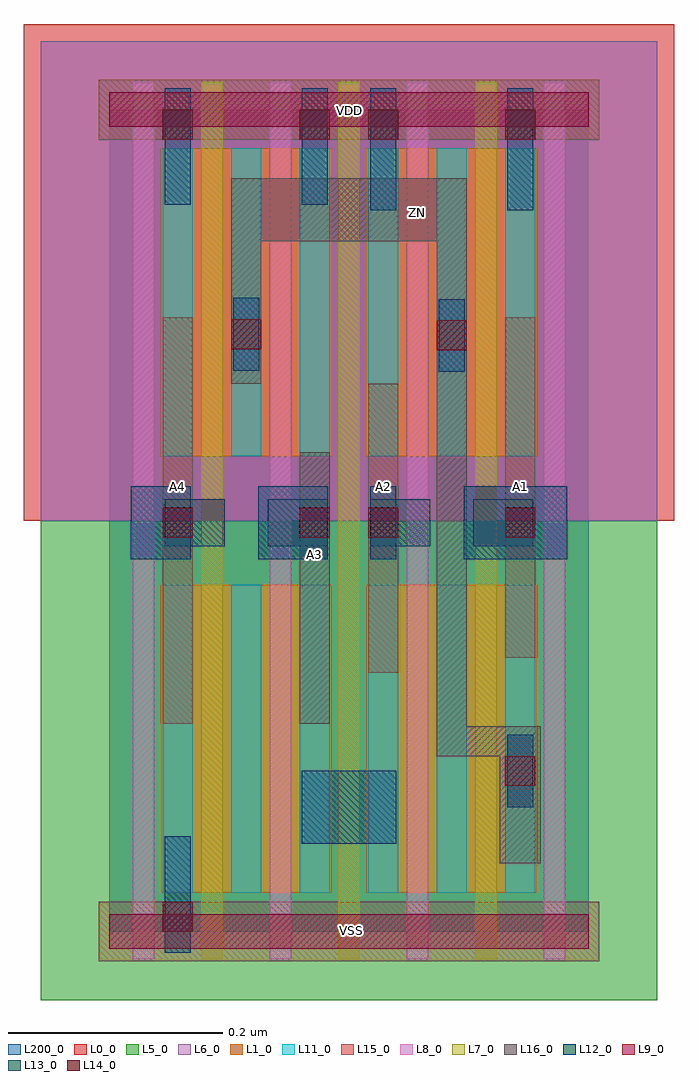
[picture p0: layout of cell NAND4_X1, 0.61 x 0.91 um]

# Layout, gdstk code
import gdstk
lib = gdstk.Library(unit=1e-6, precision=1e-09)
def R(c, l, rs):  # rectangles x0, y0, x1, y1
    for r in rs: c.add(gdstk.rectangle(r[:2], r[2:], *l))
def A(c, l, x, y, w, h, nx, ny, dx, dy):  # array of equal rectangles
    R(c, l, [(x+i*dx, y+j*dy, x+i*dx+w, y+j*dy+h) for i in range(nx) for j in range(ny)])
def P(c, l, *ps):  # polygons
    for p in ps: c.add(gdstk.Polygon(p, *l))
L0_0 = (0, 0)
L1_0 = (1, 0)
L5_0 = (5, 0)
L6_0 = (6, 0)
L7_0 = (7, 0)
L8_0 = (8, 0)
L9_0 = (9, 0)
L11_0 = (11, 0)
L12_0 = (12, 0)
L13_0 = (13, 0)
L14_0 = (14, 0)
L15_0 = (15, 0)
L16_0 = (16, 0)
L200_0 = (200, 0)

nand4_x1 = lib.new_cell('NAND4_X1')
R(nand4_x1, L0_0, [(-0.08,0.384,0.528,0.848)])
R(nand4_x1, L1_0, [(0.048,0.036,0.208,0.324), (0.24,0.036,0.4,0.324), (0.048,0.444,0.208,0.732), (0.24,0.444,0.4,0.732)])
R(nand4_x1, L5_0, [(-0.064,-0.064,0.512,0.384)])
R(nand4_x1, L6_0, [(-0.064,0.384,0.512,0.832)])
A(nand4_x1, L7_0, 0.086, -0.026, 0.02, 0.82, 3, 1, 0.128, 0)
A(nand4_x1, L8_0, 0.022, -0.026, 0.02, 0.82, 4, 1, 0.128, 0)
R(nand4_x1, L9_0, [(0,-0.016,0.448,0.016), (0,0.752,0.448,0.784)])
A(nand4_x1, L11_0, 0.05, 0.036, 0.028, 0.288, 6, 2, 0.064, 0.408)
R(nand4_x1, L12_0, [(0.052,-0.02,0.076,0.089), (0.18,0.082,0.268,0.15), (0.372,0.116,0.396,0.184), (0.02,0.348,0.076,0.416), (0.139,0.348,0.204,0.416), (0.244,0.348,0.268,0.416), (0.331,0.348,0.428,0.416), (0.308,0.523,0.332,0.591), (0.116,0.524,0.14,0.592), (0.244,0.674,0.268,0.788), (0.372,0.674,0.396,0.788), (0.052,0.679,0.076,0.788), (0.18,0.679,0.204,0.788)])
A(nand4_x1, L13_0, 0.052, 0.36, 0.056, 0.044, 4, 1, 0.096, 0)
R(nand4_x1, L14_0, [(0.05,0,0.078,0.028), (0.37,0.136,0.398,0.164), (0.05,0.368,0.078,0.396), (0.178,0.368,0.206,0.396), (0.242,0.368,0.27,0.396), (0.37,0.368,0.398,0.396), (0.306,0.543,0.334,0.571), (0.114,0.544,0.142,0.572), (0.05,0.74,0.078,0.768), (0.178,0.74,0.206,0.768), (0.242,0.74,0.27,0.768), (0.37,0.74,0.398,0.768)])
R(nand4_x1, L15_0, [(-0.01,-0.028,0.458,0.028), (0.05,0.194,0.078,0.574), (0.242,0.242,0.27,0.512), (0.37,0.256,0.398,0.574), (-0.01,0.74,0.458,0.796)])
R(nand4_x1, L16_0, [(0.178,0.194,0.206,0.448)])
P(nand4_x1, L16_0, [(0.114,0.512),(0.142,0.512),(0.142,0.645),(0.306,0.645),(0.306,0.164),(0.365,0.164),(0.365,0.064),(0.403,0.064),(0.403,0.192),(0.334,0.192),(0.334,0.704),(0.114,0.704)])
R(nand4_x1, L200_0, [(0,0,0.448,0.768)])
nand4_x1.add(gdstk.Label('VSS', (0.226,0.001), layer=15, texttype=20))
nand4_x1.add(gdstk.Label('A4', (0.064,0.416), layer=15, texttype=20))
nand4_x1.add(gdstk.Label('A2', (0.256,0.416), layer=15, texttype=20))
nand4_x1.add(gdstk.Label('A1', (0.384,0.416), layer=15, texttype=20))
nand4_x1.add(gdstk.Label('VDD', (0.224,0.767), layer=15, texttype=20))
nand4_x1.add(gdstk.Label('A3', (0.192,0.352), layer=16, texttype=20))
nand4_x1.add(gdstk.Label('ZN', (0.288,0.672), layer=16, texttype=20))

lib.write_gds('NAND4_X1.gds')
